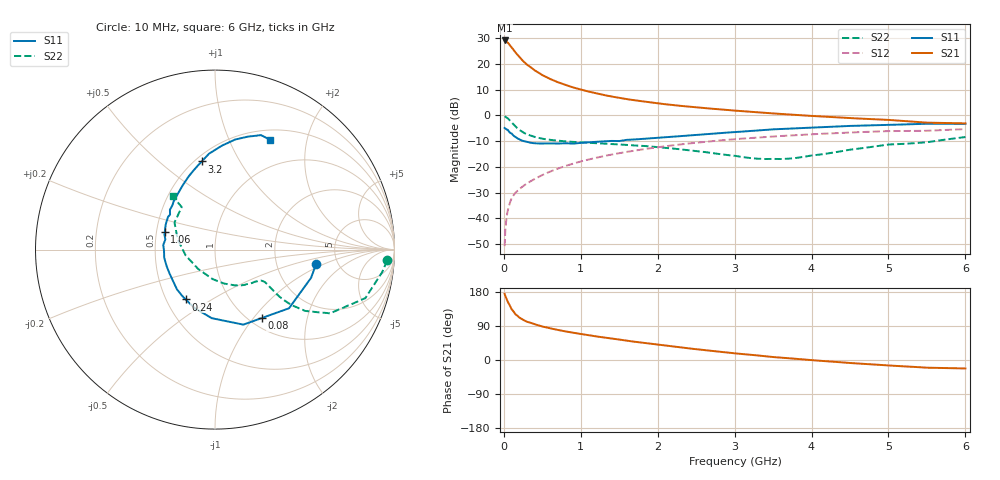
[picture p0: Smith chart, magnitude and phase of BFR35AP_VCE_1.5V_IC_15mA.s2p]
! Infineon Technologies  Discrete & RF Semiconductors
! BFR35AP
! VCE =  1.5 V,  IC =  15 mA
! Common Emitter S-Parameters:  Nov 2015
# GHz  S  MA  R  50
!  f  S11  S21  S12  S22
! GHz  MAG  ANG  MAG  ANG  MAG  ANG  MAG  ANG
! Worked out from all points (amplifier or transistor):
!   210 points, 10 MHz to 6 GHz, reference 50 ohm
!   highest |S21| = 29.1 dB at 10 MHz (marker M1)
!   |S21| within 3 dB of that: start of sweep to 109.9 MHz
!   unconditionally stable (mu >= 1): 387.9 MHz to 4.411 GHz; 5.124 GHz to end of sweep
!   at 185 MHz: K = 0.71, MSG = 26.1 dB, |S12| = -29.1 dB
!   at 1.52 GHz: K = 1.14, MAG = 8.3 dB, |S12| = -14.6 dB
!   at 6 GHz: K = 1.01, MAG = 0.5 dB, |S12| = -5.3 dB
!   S11 on the Smith chart (normalised r, x): 10 MHz: 3.42, -0.82; 80 MHz: 1.13, -1.10; 240 MHz: 0.63, -0.39; 1.06 GHz: 0.55, +0.12; 3.2 GHz: 0.54, +0.70; 6 GHz: 0.62, +1.44
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0.01  0.5689 -8.2  28.37 174.4  0.0029 87.1  0.9609 -3.6
0.02  0.5579 -16.4  28.11 168.5  0.0062 83.5  0.9405 -7.6
0.05  0.5262 -38.4  26.03 153.5  0.0141 74.2  0.8802 -17.9
0.08  0.4616 -55.8  22.71 143.0  0.0203 68.9  0.7882 -24.1
0.1  0.4469 -69.3  21.03 134.3  0.0245 66.8  0.733 -29.0
0.15  0.3824 -92.8  16.67 120.8  0.0315 62.5  0.6078 -34.2
0.2  0.3446 -109.3  13.6 112.3  0.0368 61.4  0.5252 -36.0
0.24  0.3225 -120.5  11.74 107.4  0.0412 62.3  0.4793 -36.2
0.3  0.3065 -133.8  9.67 101.0  0.0477 63.2  0.4278 -35.9
0.4  0.2876 -149.9  7.479 94.2  0.0582 64.7  0.3801 -34.6
0.5  0.2848 -161.1  6.041 88.3  0.0695 65.9  0.3518 -33.6
0.6  0.2866 -171.0  5.091 83.6  0.0809 66.5  0.3346 -33.1
0.7  0.284 -178.4  4.407 79.3  0.0924 66.7  0.3227 -33.2
1.02  0.2945 162.5  3.106 68.1  0.1297 64.9  0.2986 -35.6
1.06  0.2968 160.3  3.001 66.8  0.1344 64.6  0.2964 -36.3
1.4  0.3191 145.0  2.318 56.7  0.1734 61.4  0.2786 -41.7
2.02  0.369 125.0  1.696 40.0  0.2429 54.0  0.2403 -55.8
3.1  0.4846 100.4  1.205 15.8  0.3537 39.2  0.1555 -101.2
3.2  0.4966 98.6  1.174 14.0  0.3623 37.8  0.1487 -108.1
4.1  0.5884 84.8  0.956 -1.9  0.4367 25.4  0.173 -175.2
5.1  0.6598 72.9  0.797 -15.6  0.4958 11.4  0.2752 142.3
6  0.6844 63.2  0.699 -22.3  0.5415 1.5  0.3794 128.5
